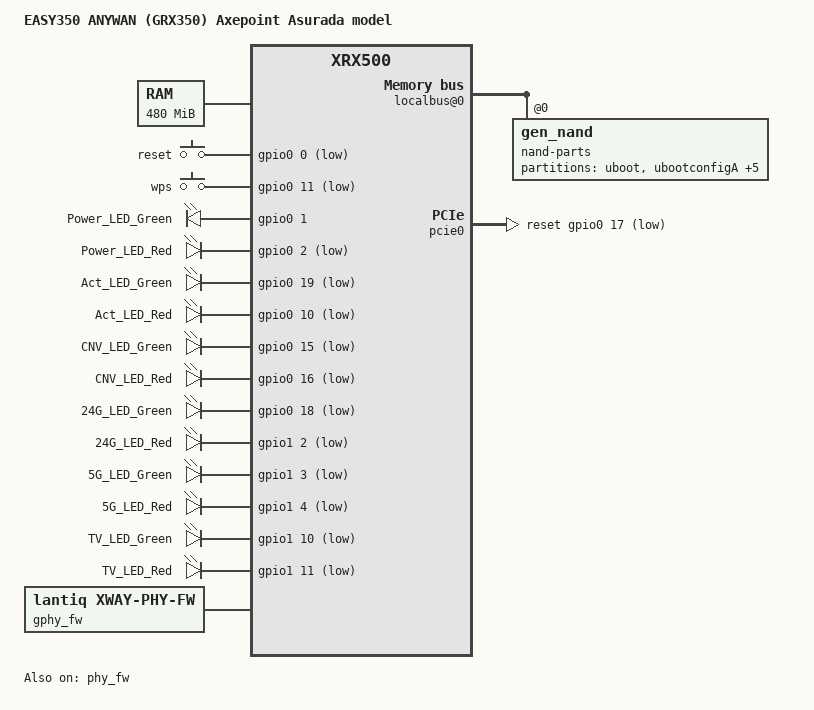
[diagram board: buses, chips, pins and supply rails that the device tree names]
/dts-v1/;
#include <dt-bindings/interrupt-controller/mips-gic.h>
#include <dt-bindings/clock/intel,grx500-clk.h>
#include <dt-bindings/pinctrl/intel,equilibrium.h>
#include <dt-bindings/input/input.h>
/*****************************************************************
** Include a chip configuration file
*****************************************************************/
#include "xrx500.dtsi"
/*****************************************************************
** Include a board configuration file
*****************************************************************/
#include "xrx500_anywan_bc_axepoint.dtsi"

/ {
	model = "EASY350 ANYWAN (GRX350) Axepoint Asurada model";
	compatible = "intel,easy350_anywan", "lantiq,grx500", "lantiq,xrx500";

	chosen {
		bootargs = "earlycon=lantiq,0x16600000 nr_cpus=4 nocoherentio clk_ignore_unused";

		stdout-path = "serial0";
	};

	memory@0 {
		device_type = "memory";
		reg = <0x20000000 0x1e000000>;
	};

	ssx4@16000000 {
		localbus@0 {
			ranges = <0 0 0x1c00000 0xfffff>;
			nand-parts@0 {
				compatible = "gen_nand","lantiq,nand-xway";
				lantiq,cs = <1>;
				bank-width = <2>;
				reg = <0 0x0 0x100000>;
				#address-cells = <1>;
				#size-cells = <1>;
				nand-ecc-mode = "soft";
				nand-ecc-algo = "bch";
				nand-ecc-strength = <4>;
				nand-ecc-step-size = <512>;
				partition@0 {
					label = "uboot";
					reg = <0x000000 0x100000>;
				};
				
				partition@100000 {
					label = "ubootconfigA";
					reg = <0x100000 0x40000>;
				};
				
				partition@140000 {
					label = "ubootconfigB";
					reg = <0x140000 0x40000>;
				};
				
				partition@180000 {
					label = "gphyfirmware";
					reg = <0x180000 0x40000>;
				};

				partition@1c0000 {
					label = "calibration";
					reg = <0x1c0000 0x100000>;
				};

				partition@2c0000 {
					label = "system_sw";
					reg = <0x2c0000 0x7C00000>;
				};

				partition@7Ec0000 {
					label = "res";
					reg = <0x7EC0000 0x140000>;
				};
			};
		};
	};
};

&gsw_f24s {
	status = "disabled";
};

&usb0 {
	status = "disabled";
};

&usb0_phy {
	status = "disabled";
};

&usb1 {
	status = "disabled";
};

&usb1_phy {
	status = "disabled";
};

&ssc0 {
	/delete-node/ vcodec@5;
};

&ssc1 {
	status = "disabled";
};

&i2c {
	status = "disabled";
};

&ssogpio {
	status = "disabled";
};

&ssoled {
	status = "disabled";
};

&pcie_phy2 {
	status = "disabled";
};

&pcie0 {
	reset-gpios = <&gpio0 17 GPIO_ACTIVE_LOW>; // default value, it can be updated on board.
};

&pcie2 {
	status = "disabled";
};

&usb0_vbus {
	status = "disabled";
};

&usb1_vbus {
	status = "disabled";
};

&pinctrl {
	/delete-node/ pinctrl_spi0_cs1;
	/delete-node/ pinctrl_spi1_cs0;
};

&cpu0 {
	/delete-property/ cpu-supply;
}; 

&lan5 {
	status = "disabled";
};

/ {

/******************************************************************************
** Board configuration: Enable buttons on the board.  
******************************************************************************/
	ltq_swreset {
		status = "disabled";
	};

	gpio-keys {
		compatible = "gpio-keys";

		reset {
			label = "reset";
			gpios = <&gpio0 0 1>;
			linux,code = <KEY_RESTART>;
		};
		wps {
			label = "wps";
			gpios = <&gpio0 11 1>;
			linux,code = <KEY_WPS_BUTTON>;
		};
	};

	gpio-leds {
		compatible = "gpio-leds";
		power_led_green {
			label = "Power_LED_Green";
			gpios = <&gpio0 1 GPIO_ACTIVE_HIGH>;
			default-state = "on";
		};
		power_led_red {
			label = "Power_LED_Red";
			gpios = <&gpio0 2 GPIO_ACTIVE_LOW>;
			default-state = "off";
		};

		act_led_green {
			label = "Act_LED_Green";
			gpios = <&gpio0 19 GPIO_ACTIVE_LOW>;
			default-state = "on";
		};

		act_led_red {
			label = "Act_LED_Red";
			gpios = <&gpio0 10 GPIO_ACTIVE_LOW>;
			default-state = "off";
		};

		cnv_led_green {
			label = "CNV_LED_Green";
			gpios = <&gpio0 15 GPIO_ACTIVE_LOW>;
			default-state = "on";
		};
		cnv_led_red {
			label = "CNV_LED_Red";
			gpios = <&gpio0 16 GPIO_ACTIVE_LOW>;
			default-state = "off";
		};
		24g_led_green {
			label = "24G_LED_Green";
			gpios = <&gpio0 18 GPIO_ACTIVE_LOW>;
			default-state = "on";
		};

		24g_led_red {
			label = "24G_LED_Red";
			gpios = <&gpio1 2 GPIO_ACTIVE_LOW>;
			default-state = "off";
		};
		5g_led_green {
			label = "5G_LED_Green";
			gpios = <&gpio1 3 GPIO_ACTIVE_LOW>;
			default-state = "on";
		};
		5g_led_red {
			label = "5G_LED_Red";
			gpios = <&gpio1 4 GPIO_ACTIVE_LOW>;
			default-state = "off";
		};
		tv_led_green {
			label = "TV_LED_Green";
			gpios = <&gpio1 10 GPIO_ACTIVE_LOW>;
			default-state = "on";
		};
		tv_led_red {
			label = "TV_LED_Red";
			gpios = <&gpio1 11 GPIO_ACTIVE_LOW>;
			default-state = "off";
		};
	};
/*****************************************************************************/
};


/******************************************************************************
** Model configuration: Select Gigabit or fast ethernet firmware to load to 
** internel GPHY.
******************************************************************************/
&phy_fw {
	status = "okay";
};

/******************************************************************************
** Board configuration: MEI setting might not be needed for VRX318
******************************************************************************/
/{
	mei@E116000 {
		compatible = "lantiq,mei-xrx300";
		reg = <0xE116000 0x100>;
		interrupts = <63>;
	};
};

/{
/******************************************************************************
** Model configuration: Select Gigabit or fast ethernet firmware to load to 
** internel GPHY.
** GE mode : 11G-FW
** FE mode : 22F-FW
******************************************************************************/
	gphy_fw: gphy-fw {
		compatible = "lantiq,xway-phy-fw";
		fw-mode = "11G-FW";
		no_of_phys = <5>;
	};
};
/*******************************************************************************/

/******************************************************************************
** Model configuration: Arrange specific FW to run on VPEs. 
******************************************************************************/
/* use CPU1 for voice firmware */
&cpu1 {
	default-OS = "VOICEFW";
};

/* use CPU3 for MPE firmware */
&cpu3 {
	default-OS = "MPEFW";
};

/******************************************************************************/


&cpu_opp_table {
        compatible = "operating-points-v2";
        opp-shared;

        opp@800000000 {
                opp-hz = /bits/ 64 <800000000>;
		opp-supported-hw = <0x00000041>;
						/* <target min max> */
		opp-microvolt-slow_default = <1100000 1000000 1200000>;
		opp-microvolt-not_defined = <1100000 1000000 1200000>;
		opp-microvolt-slow0 = <1100000 1000000 1200000>;
		opp-microvolt-slow1 = <1100000 1000000 1200000>;
		opp-microvolt-slow2 = <1100000 1000000 1200000>;
		opp-microvolt-slow3 = <1150000 1000000 1200000>;
		opp-microvolt-typ0  = <1050000 1000000 1200000>;
		opp-microvolt-typ1  = <1100000 1000000 1200000>;
		opp-microvolt-typ2  = <1050000 1000000 1200000>;
		opp-microvolt-typ3  = <1050000 1000000 1200000>;
		opp-microvolt-fast0 = <1000000 1000000 1200000>;
		opp-microvolt-fast1 = <1050000 1000000 1200000>;
		opp-microvolt-fast2 = <1000000 1000000 1200000>;
		opp-microvolt-fast3 = <1150000 1000000 1200000>;
        };

        opp@600000000 {
                opp-hz = /bits/ 64 <600000000>;
		opp-supported-hw = <0x00000041>;
		opp-microvolt-slow_default = <1100000 1000000 1200000>;
		opp-microvolt-not_defined = <1100000 1000000 1200000>;
		opp-microvolt-slow0 = <1100000 1000000 1200000>;
		opp-microvolt-slow1 = <1100000 1000000 1200000>;
		opp-microvolt-slow2 = <1100000 1000000 1200000>;
		opp-microvolt-slow3 = <1150000 1000000 1200000>;
		opp-microvolt-typ0  = <1050000 1000000 1200000>;
		opp-microvolt-typ1  = <1100000 1000000 1200000>;
		opp-microvolt-typ2  = <1050000 1000000 1200000>;
		opp-microvolt-typ3  = <1050000 1000000 1200000>;
		opp-microvolt-fast0 = <1000000 1000000 1200000>;
		opp-microvolt-fast1 = <1050000 1000000 1200000>;
		opp-microvolt-fast2 = <1000000 1000000 1200000>;
		opp-microvolt-fast3 = <1150000 1000000 1200000>;
        };

        opp@150000000 {
                opp-hz = /bits/ 64 <150000000>;
		opp-supported-hw = <0x00000041>;
		opp-microvolt-slow_default = <1100000 1000000 1200000>;
		opp-microvolt-not_defined = <1100000 1000000 1200000>;
		opp-microvolt-slow0 = <1100000 1000000 1200000>;
		opp-microvolt-slow1 = <1100000 1000000 1200000>;
		opp-microvolt-slow2 = <1100000 1000000 1200000>;
		opp-microvolt-slow3 = <1150000 1000000 1200000>;
		opp-microvolt-typ0  = <1050000 1000000 1200000>;
		opp-microvolt-typ1  = <1100000 1000000 1200000>;
		opp-microvolt-typ2  = <1050000 1000000 1200000>;
		opp-microvolt-typ3  = <1050000 1000000 1200000>;
		opp-microvolt-fast0 = <1000000 1000000 1200000>;
		opp-microvolt-fast1 = <1050000 1000000 1200000>;
		opp-microvolt-fast2 = <1000000 1000000 1200000>;
		opp-microvolt-fast3 = <1150000 1000000 1200000>;
        };
};

